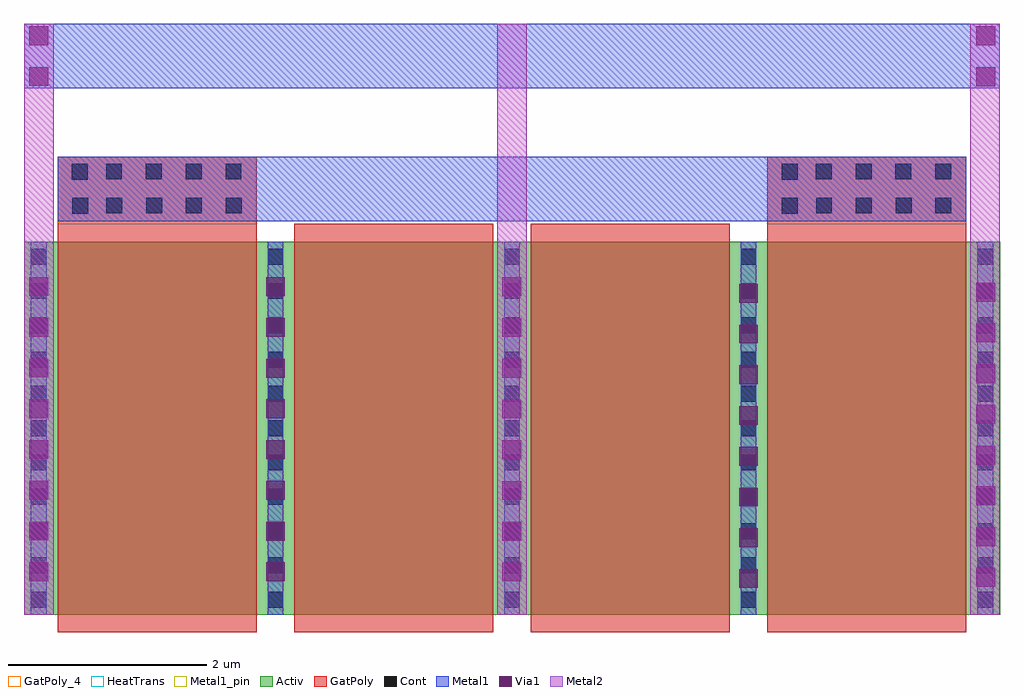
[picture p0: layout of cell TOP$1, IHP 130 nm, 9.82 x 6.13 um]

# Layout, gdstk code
import gdstk
lib = gdstk.Library(unit=1e-6, precision=1e-09)
def R(c, l, rs):  # rectangles x0, y0, x1, y1
    for r in rs: c.add(gdstk.rectangle(r[:2], r[2:], *l))
def A(c, l, x, y, w, h, nx, ny, dx, dy):  # array of equal rectangles
    R(c, l, [(x+i*dx, y+j*dy, x+i*dx+w, y+j*dy+h) for i in range(nx) for j in range(ny)])
Activ = (1, 0)
GatPoly = (5, 0)
GatPoly_4 = (5, 4)
Cont = (6, 0)
Metal1 = (8, 0)
Metal1_pin = (8, 2)
Metal2 = (10, 0)
Via1 = (19, 0)
HeatTrans = (51, 0)

nmos_1 = lib.new_cell('nmos$1')
A(nmos_1, Activ, 14.036, 11.524, 0.3, 0.3, 5, 1, 2.38, 0)
R(nmos_1, Activ, [(14.036,11.524,23.856,15.274)])
A(nmos_1, GatPoly, 14.376, 11.344, 2, 4.11, 4, 1, 2.38, 0)
R(nmos_1, GatPoly_4, [(14.376,11.344,16.376,15.454), (14.376,11.344,16.376,15.454)])
A(nmos_1, Cont, 14.106, 11.594, 0.16, 0.16, 5, 11, 2.38, 0.345)
A(nmos_1, Metal1, 14.106, 11.524, 0.16, 3.75, 5, 1, 2.38, 0)
R(nmos_1, Metal1_pin, [(14.106,11.524,14.266,15.274), (14.106,11.524,14.266,15.274), (16.486,11.524,16.646,15.274), (16.486,11.524,16.646,15.274)])
A(nmos_1, HeatTrans, 14.376, 11.344, 2, 4.11, 4, 1, 2.38, 0)
nmos_1.add(gdstk.Label('nmos', (15.376,13.399), layer=51, texttype=0))
nmos_1.add(gdstk.Label('nmos', (17.756,13.399), layer=51, texttype=0))
nmos_1.add(gdstk.Label('nmos', (20.136,13.399), layer=51, texttype=0))
nmos_1.add(gdstk.Label('nmos', (22.516,13.399), layer=51, texttype=0))

top_1 = lib.new_cell('TOP$1')
R(top_1, GatPoly, [(13.901,15.399,15.902,16.075), (21.042,15.399,23.043,16.075)])
R(top_1, Cont, [(14.046,15.503,14.206,15.663), (21.187,15.503,21.347,15.663), (14.39,15.505,14.55,15.665), (14.791,15.505,14.951,15.665), (15.191,15.505,15.351,15.665), (15.592,15.505,15.752,15.665), (21.531,15.505,21.691,15.665), (21.932,15.505,22.092,15.665), (22.332,15.505,22.492,15.665), (22.733,15.505,22.893,15.665), (14.044,15.845,14.204,16.005), (21.185,15.845,21.345,16.005), (14.388,15.847,14.548,16.007), (14.789,15.847,14.949,16.007), (15.189,15.847,15.349,16.007), (15.59,15.847,15.75,16.007), (21.529,15.847,21.689,16.007), (21.93,15.847,22.09,16.007), (22.33,15.847,22.49,16.007), (22.731,15.847,22.891,16.007)])
R(top_1, Metal1, [(13.901,15.424,23.043,16.075), (13.562,16.764,23.378,17.415)])
R(top_1, Metal2, [(13.562,11.469,13.862,17.415), (18.322,11.469,18.622,17.415), (23.082,11.469,23.378,17.415)])
A(top_1, Via1, 20.757, 11.737, 0.19, 0.19, 1, 8, 0, 0.41)
A(top_1, Via1, 23.142, 11.748, 0.19, 0.19, 1, 8, 0, 0.41)
A(top_1, Via1, 18.376, 11.802, 0.19, 0.19, 1, 8, 0, 0.41)
A(top_1, Via1, 15.998, 11.803, 0.19, 0.19, 1, 8, 0, 0.41)
A(top_1, Via1, 13.616, 11.805, 0.19, 0.19, 1, 8, 0, 0.41)
R(top_1, Via1, [(23.145,16.786,23.335,16.976), (13.615,16.788,13.805,16.978), (23.145,17.196,23.335,17.386), (13.615,17.198,13.805,17.388)])
top_1.add(gdstk.Reference(nmos_1, (-0.474,-0.055)))

lib.write_gds('TOP_1.gds')
